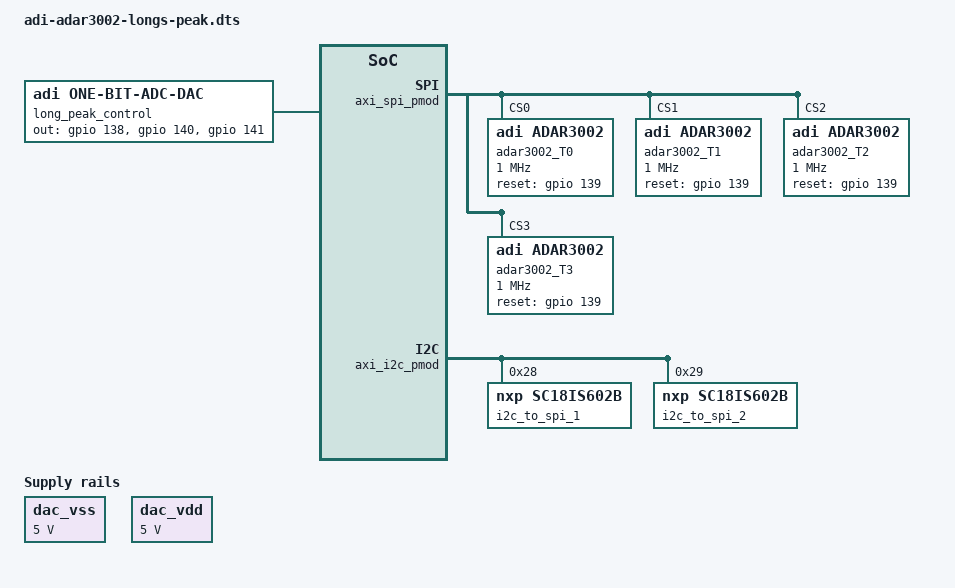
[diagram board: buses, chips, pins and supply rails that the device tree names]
// SPDX-License-Identifier: GPL-2.0
/*
 * dts file for AD9172-FMC-EBZ on Xilinx ZynqMP ZCU102 Rev 1.0
 *
 * Copyright (C) 2018-2019 Analog Devices Inc.
 */

#include "zynqmp-zcu102-rev10-ad9081-m8-l4.dts"

/ {
	dac_vss: fixedregulator@1 {
		compatible = "regulator-fixed";
		regulator-name = "fixed-supply";
		regulator-min-microvolt = <5000000>;
		regulator-max-microvolt = <5000000>;
		regulator-boot-on;
	};

	dac_vdd: fixedregulator@0 {
		compatible = "regulator-fixed";
		regulator-name = "fixed-supply";
		regulator-min-microvolt = <5000000>;
		regulator-max-microvolt = <5000000>;
		regulator-boot-on;
	};

	long_peak_control@0 {
		compatible = "adi,one-bit-adc-dac";
		#address-cells = <1>;
		#size-cells = <0>;
		// 78 offset
		out-gpios = <&gpio 138 0>, <&gpio 140 0>, <&gpio 141 0>;
		label = "long_peak_control";

		channel@0 {
			reg = <0>;
			label = "MUTE";
		};
		channel@1 {
			reg = <1>;
			label = "UPDATE";
		};
		channel@2 {
			reg = <2>;
			label = "RESET";
		};
	};
};

&fpga_axi {
	axi_spi_pmod: spi@84000000 {
		#address-cells = <1>;
		#size-cells = <0>;
		bits-per-word = <8>;
		compatible = "xlnx,xps-spi-2.00.a";
		fifo-size = <16>;
		// 3 + 121 - 32
		interrupts = <0 92 IRQ_TYPE_LEVEL_HIGH>;
		num-cs = <0x8>;
		reg = <0x84000000 0x10000>;
		xlnx,num-ss-bits = <0x8>;
		xlnx,spi-mode = <0>;
	};
	axi_i2c_pmod: i2c@84500000 {
		#address-cells = <1>;
		#size-cells = <0>;
		clock-names = "s_axi_aclk";
		clocks = <&zynqmp_clk 71>;
		compatible = "xlnx,axi-iic-2.0", "xlnx,xps-iic-2.00.a";
		interrupt-names = "iic2intc_irpt";
		interrupts = <0 93 IRQ_TYPE_LEVEL_HIGH>;
		reg = <0x84500000 0x1000>;
	};
};

&axi_i2c_pmod {
	#address-cells = <1>;
	#size-cells = <0>;
	i2c_to_spi_1: spi@28 {
		compatible = "nxp,sc18is602b";
		reg = <0x28>;
	};

	i2c_to_spi_2: spi@29 {
		compatible = "nxp,sc18is602b";
		reg = <0x29>;
	};
};

&i2c_to_spi_2 {
	#address-cells = <1>;
	#size-cells = <0>;
	ad5760@0 {
		compatible = "adi,ad5760";
		reg = <0>;
		spi-max-frequency = <5000000>;
		spi-cpha;
		vss-supply = <&dac_vss>;
		vdd-supply = <&dac_vdd>;
	};
	ad5760@1 {
		compatible = "adi,ad5760";
		reg = <1>;
		spi-max-frequency = <5000000>;
		spi-cpha;
		vss-supply = <&dac_vss>;
		vdd-supply = <&dac_vdd>;
	};
};

&i2c_to_spi_1 {
	#address-cells = <1>;
	#size-cells = <0>;
	adrf5720@0 {
		compatible = "adi,adrf5720";
		reg = <0>;
		spi-max-frequency = <10000000>;
	};
	adrf5720@1 {
		compatible = "adi,adrf5720";
		reg = <1>;
		spi-max-frequency = <10000000>;
	};
	adl5240@2 {
		compatible = "adi,adl5240";
		reg = <2>;
		spi-3wire;
		spi-max-frequency = <10000000>;
	};
	adl5240@3 {
		compatible = "adi,adl5240";
		reg = <3>;
		spi-3wire;
		spi-max-frequency = <10000000>;
	};
};

&axi_spi_pmod {
	adar3002_T0: adar3002_0@0 {
		compatible = "adi,adar3002";
		reg = <0>;
		spi-max-frequency = <1000000>;
		label = "adar3002_T0";
		#address-cells = <1>;
		#size-cells = <0>;
		reset-gpios = <&gpio 139 0>;

		adar3002_0@0 {
			reg = <0>;
			label = "adar3002_U1E";
		};
		adar3002_1@1 {
			reg = <1>;
			label = "adar3002_U2E";
		};
		adar3002_2@2 {
			reg = <2>;
			label = "adar3002_U3E";
		};
		adar3002_3@3 {
			reg = <3>;
			label = "adar3002_U4E";
		};

		adar3002_4@4 {
			reg = <4>;
			label = "adar3002_U1F";
		};
		adar3002_5@5 {
			reg = <5>;
			label = "adar3002_U2F";
		};
		adar3002_6@6 {
			reg = <6>;
			label = "adar3002_U3F";
		};
		adar3002_7@7 {
			reg = <7>;
			label = "adar3002_U4F";
		};

		adar3002_8@8 {
			reg = <8>;
			label = "adar3002_U1G";
		};
		adar3002_9@9 {
			reg = <9>;
			label = "adar3002_U2G";
		};
		adar3002_10@10 {
			reg = <10>;
			label = "adar3002_U3G";
		};
		adar3002_11@11 {
			reg = <11>;
			label = "adar3002_U4G";
		};

		adar3002_12@12 {
			reg = <12>;
			label = "adar3002_U1H";
		};
		adar3002_13@13 {
			reg = <13>;
			label = "adar3002_U2H";
		};
		adar3002_14@14 {
			reg = <14>;
			label = "adar3002_U3H";
		};
		adar3002_15@15 {
			reg = <15>;
			label = "adar3002_U4H";
		};
	};

	adar3002_T1: adar3002_1@1 {
		compatible = "adi,adar3002";
		reg = <1>;
		spi-max-frequency = <1000000>;
		label = "adar3002_T1";
		#address-cells = <1>;
		#size-cells = <0>;
		reset-gpios = <&gpio 139 0>;

		adar3002_0@0 {
			reg = <0>;
			label = "adar3002_U1E";
		};
		adar3002_1@1 {
			reg = <1>;
			label = "adar3002_U2E";
		};
		adar3002_2@2 {
			reg = <2>;
			label = "adar3002_U3E";
		};
		adar3002_3@3 {
			reg = <3>;
			label = "adar3002_U4E";
		};

		adar3002_4@4 {
			reg = <4>;
			label = "adar3002_U1F";
		};
		adar3002_5@5 {
			reg = <5>;
			label = "adar3002_U2F";
		};
		adar3002_6@6 {
			reg = <6>;
			label = "adar3002_U3F";
		};
		adar3002_7@7 {
			reg = <7>;
			label = "adar3002_U4F";
		};

		adar3002_8@8 {
			reg = <8>;
			label = "adar3002_U1G";
		};
		adar3002_9@9 {
			reg = <9>;
			label = "adar3002_U2G";
		};
		adar3002_10@10 {
			reg = <10>;
			label = "adar3002_U3G";
		};
		adar3002_11@11 {
			reg = <11>;
			label = "adar3002_U4G";
		};

		adar3002_12@12 {
			reg = <12>;
			label = "adar3002_U1H";
		};
		adar3002_13@13 {
			reg = <13>;
			label = "adar3002_U2H";
		};
		adar3002_14@14 {
			reg = <14>;
			label = "adar3002_U3H";
		};
		adar3002_15@15 {
			reg = <15>;
			label = "adar3002_U4H";
		};
	};

	adar3002_T2: adar3002_2@2 {
		compatible = "adi,adar3002";
		reg = <2>;
		spi-max-frequency = <1000000>;
		label = "adar3002_T2";
		#address-cells = <1>;
		#size-cells = <0>;
		reset-gpios = <&gpio 139 0>;

		adar3002_0@0 {
			reg = <0>;
			label = "adar3002_U1E";
		};
		adar3002_1@1 {
			reg = <1>;
			label = "adar3002_U2E";
		};
		adar3002_2@2 {
			reg = <2>;
			label = "adar3002_U3E";
		};
		adar3002_3@3 {
			reg = <3>;
			label = "adar3002_U4E";
		};

		adar3002_4@4 {
			reg = <4>;
			label = "adar3002_U1F";
		};
		adar3002_5@5 {
			reg = <5>;
			label = "adar3002_U2F";
		};
		adar3002_6@6 {
			reg = <6>;
			label = "adar3002_U3F";
		};
		adar3002_7@7 {
			reg = <7>;
			label = "adar3002_U4F";
		};

		adar3002_8@8 {
			reg = <8>;
			label = "adar3002_U1G";
		};
		adar3002_9@9 {
			reg = <9>;
			label = "adar3002_U2G";
		};
		adar3002_10@10 {
			reg = <10>;
			label = "adar3002_U3G";
		};
		adar3002_11@11 {
			reg = <11>;
			label = "adar3002_U4G";
		};

		adar3002_12@12 {
			reg = <12>;
			label = "adar3002_U1H";
		};
		adar3002_13@13 {
			reg = <13>;
			label = "adar3002_U2H";
		};
		adar3002_14@14 {
			reg = <14>;
			label = "adar3002_U3H";
		};
		adar3002_15@15 {
			reg = <15>;
			label = "adar3002_U4H";
		};
	};

	adar3002_T3: adar3002_3@3 {
		compatible = "adi,adar3002";
		reg = <3>;
		spi-max-frequency = <1000000>;
		label = "adar3002_T3";
		#address-cells = <1>;
		#size-cells = <0>;
		reset-gpios = <&gpio 139 0>;

		adar3002_0@0 {
			reg = <0>;
			label = "adar3002_U1E";
		};
		adar3002_1@1 {
			reg = <1>;
			label = "adar3002_U2E";
		};
		adar3002_2@2 {
			reg = <2>;
			label = "adar3002_U3E";
		};
		adar3002_3@3 {
			reg = <3>;
			label = "adar3002_U4E";
		};

		adar3002_4@4 {
			reg = <4>;
			label = "adar3002_U1F";
		};
		adar3002_5@5 {
			reg = <5>;
			label = "adar3002_U2F";
		};
		adar3002_6@6 {
			reg = <6>;
			label = "adar3002_U3F";
		};
		adar3002_7@7 {
			reg = <7>;
			label = "adar3002_U4F";
		};

		adar3002_8@8 {
			reg = <8>;
			label = "adar3002_U1G";
		};
		adar3002_9@9 {
			reg = <9>;
			label = "adar3002_U2G";
		};
		adar3002_10@10 {
			reg = <10>;
			label = "adar3002_U3G";
		};
		adar3002_11@11 {
			reg = <11>;
			label = "adar3002_U4G";
		};

		adar3002_12@12 {
			reg = <12>;
			label = "adar3002_U1H";
		};
		adar3002_13@13 {
			reg = <13>;
			label = "adar3002_U2H";
		};
		adar3002_14@14 {
			reg = <14>;
			label = "adar3002_U3H";
		};
		adar3002_15@15 {
			reg = <15>;
			label = "adar3002_U4H";
		};
	};
};

